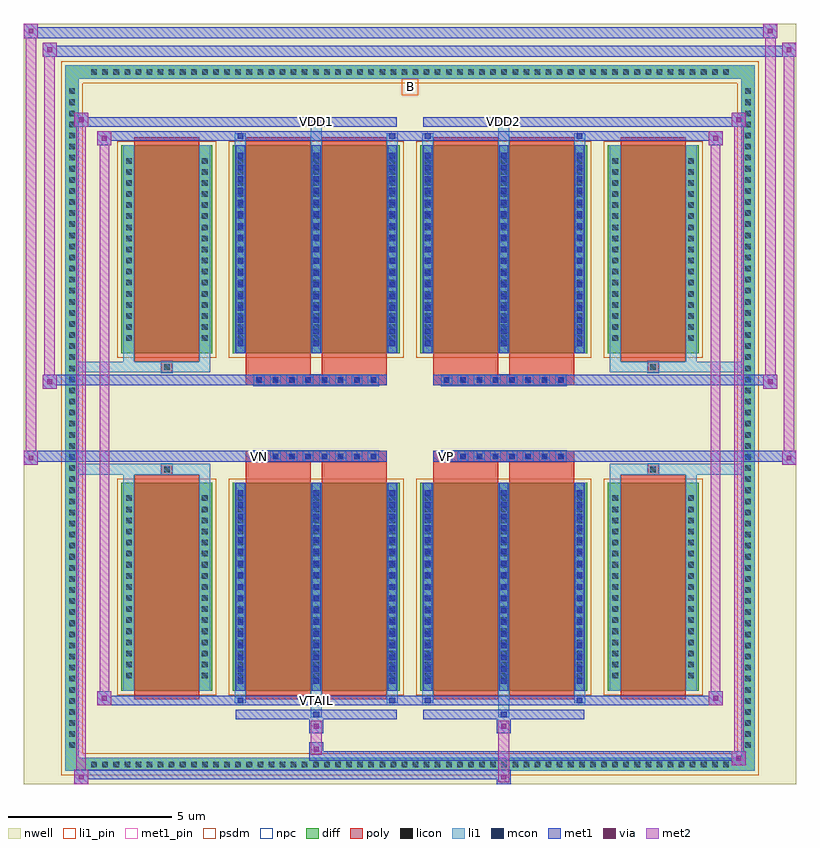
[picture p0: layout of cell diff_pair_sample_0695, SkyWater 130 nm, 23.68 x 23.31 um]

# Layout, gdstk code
import gdstk
lib = gdstk.Library(unit=1e-6, precision=5e-09)
def R(c, l, rs):  # rectangles x0, y0, x1, y1
    for r in rs: c.add(gdstk.rectangle(r[:2], r[2:], *l))
def A(c, l, x, y, w, h, nx, ny, dx, dy):  # array of equal rectangles
    R(c, l, [(x+i*dx, y+j*dy, x+i*dx+w, y+j*dy+h) for i in range(nx) for j in range(ny)])
def P(c, l, *ps):  # polygons
    for p in ps: c.add(gdstk.Polygon(p, *l))
nwell = (64, 20)
diff = (65, 20)
poly = (66, 20)
licon = (66, 44)
li1_pin = (67, 16)
li1 = (67, 20)
mcon = (67, 44)
met1_pin = (68, 16)
met1 = (68, 20)
via = (68, 44)
met2 = (69, 20)
psdm = (94, 20)
npc = (95, 20)

diff_pair_sample_0695 = lib.new_cell('diff_pair_sample_0695')
R(diff_pair_sample_0695, nwell, [(-11.84,-11.22,11.84,12.09), (-9.16,-9.41,-0.01,-0.805), (0.01,-9.41,9.16,-0.805), (-9.16,0.805,-0.01,9.41), (0.01,0.805,9.16,9.41)])
A(diff_pair_sample_0695, diff, -9.895, -10.82, 0.41, 0.41, 58, 2, 0.34, 21.23)
A(diff_pair_sample_0695, diff, -10.57, -10.235, 0.41, 0.41, 1, 60, 0, 0.34)
A(diff_pair_sample_0695, diff, 10.16, -10.235, 0.41, 0.41, 1, 60, 0, 0.34)
R(diff_pair_sample_0695, diff, [(-9.895,-10.82,9.895,-10.41), (-10.57,-10.235,-10.16,10.235), (10.16,-10.235,10.57,10.235), (-8.85,-8.365,-6.07,-1.985), (-5.43,-8.365,-0.32,-1.985), (0.32,-8.365,5.43,-1.985), (6.07,-8.365,8.85,-1.985), (-8.85,1.985,-6.07,8.365), (-5.43,1.985,-0.32,8.365), (0.32,1.985,5.43,8.365), (6.07,1.985,8.85,8.365), (-9.895,10.41,9.895,10.82)])
P(diff_pair_sample_0695, diff, [(10.57,10.82),(-10.57,10.82),(-10.57,-10.41),(-10.16,-10.41),(-10.16,10.41),(10.16,10.41),(10.16,-10.41),(-10.16,-10.41),(-10.57,-10.41),(-10.57,-10.82),(10.57,-10.82)])
A(diff_pair_sample_0695, poly, -4.79, -1.335, 0.33, 0.33, 8, 2, 0.5, 2.34)
A(diff_pair_sample_0695, poly, 0.96, -1.335, 0.33, 0.33, 8, 2, 0.5, 2.34)
R(diff_pair_sample_0695, poly, [(-8.46,-8.615,-6.46,-1.735), (-5.04,-8.615,-3.04,-1.735), (-2.71,-8.615,-0.71,-1.735), (0.71,-8.615,2.71,-1.735), (3.04,-8.615,5.04,-1.735), (6.46,-8.615,8.46,-1.735), (-7.625,-1.735,-7.295,-1.405), (-7.625,-1.735,-7.295,-1.405), (-5.04,-1.735,-3.04,-1.335), (-2.71,-1.735,-0.71,-1.335), (0.71,-1.735,2.71,-1.335), (3.04,-1.735,5.04,-1.335), (7.295,-1.735,7.625,-1.405), (7.295,-1.735,7.625,-1.405), (-5.04,-1.335,-0.71,-1.005), (0.71,-1.335,5.04,-1.005), (-5.04,1.005,-0.71,1.335), (0.71,1.005,5.04,1.335), (-5.04,1.335,-3.04,1.735), (-2.71,1.335,-0.71,1.735), (0.71,1.335,2.71,1.735), (3.04,1.335,5.04,1.735), (-7.625,1.405,-7.295,1.735), (-7.625,1.405,-7.295,1.735), (7.295,1.405,7.625,1.735), (7.295,1.405,7.625,1.735), (-8.46,1.735,-6.46,8.615), (-5.04,1.735,-3.04,8.615), (-2.71,1.735,-0.71,8.615), (0.71,1.735,2.71,8.615), (3.04,1.735,5.04,8.615), (6.46,1.735,8.46,8.615)])
A(diff_pair_sample_0695, licon, -9.775, -10.7, 0.17, 0.17, 58, 2, 0.34, 21.23)
A(diff_pair_sample_0695, licon, -10.45, -10.115, 0.17, 0.17, 1, 60, 0, 0.34)
A(diff_pair_sample_0695, licon, 10.28, -10.115, 0.17, 0.17, 1, 60, 0, 0.34)
A(diff_pair_sample_0695, licon, -8.71, -7.98, 0.17, 0.17, 1, 17, 0, 0.34)
A(diff_pair_sample_0695, licon, -6.38, -7.98, 0.17, 0.17, 1, 17, 0, 0.34)
A(diff_pair_sample_0695, licon, -5.29, -7.98, 0.17, 0.17, 3, 17, 2.33, 0.34)
A(diff_pair_sample_0695, licon, 0.46, -7.98, 0.17, 0.17, 3, 17, 2.33, 0.34)
A(diff_pair_sample_0695, licon, 6.21, -7.98, 0.17, 0.17, 1, 17, 0, 0.34)
A(diff_pair_sample_0695, licon, 8.54, -7.98, 0.17, 0.17, 1, 17, 0, 0.34)
A(diff_pair_sample_0695, licon, -4.71, -1.255, 0.17, 0.17, 8, 2, 0.5, 2.34)
A(diff_pair_sample_0695, licon, 1.04, -1.255, 0.17, 0.17, 8, 2, 0.5, 2.34)
A(diff_pair_sample_0695, licon, -8.71, 2.37, 0.17, 0.17, 1, 17, 0, 0.34)
A(diff_pair_sample_0695, licon, -6.38, 2.37, 0.17, 0.17, 1, 17, 0, 0.34)
A(diff_pair_sample_0695, licon, -5.29, 2.37, 0.17, 0.17, 3, 17, 2.33, 0.34)
A(diff_pair_sample_0695, licon, 0.46, 2.37, 0.17, 0.17, 3, 17, 2.33, 0.34)
A(diff_pair_sample_0695, licon, 6.21, 2.37, 0.17, 0.17, 1, 17, 0, 0.34)
A(diff_pair_sample_0695, licon, 8.54, 2.37, 0.17, 0.17, 1, 17, 0, 0.34)
R(diff_pair_sample_0695, licon, [(-7.545,-1.655,-7.375,-1.485), (7.375,-1.655,7.545,-1.485), (-7.545,1.485,-7.375,1.655), (7.375,1.485,7.545,1.655)])
R(diff_pair_sample_0695, li1_pin, [(-0.25,9.91,0.25,10.41)])
A(diff_pair_sample_0695, li1, -9.855, -10.78, 0.33, 0.33, 58, 2, 0.34, 21.23)
A(diff_pair_sample_0695, li1, -10.53, -10.195, 0.33, 0.33, 1, 60, 0, 0.34)
A(diff_pair_sample_0695, li1, 10.2, -10.195, 0.33, 0.33, 1, 60, 0, 0.34)
A(diff_pair_sample_0695, li1, -5.37, -8.365, 0.33, 6.38, 3, 2, 2.33, 10.35)
A(diff_pair_sample_0695, li1, 0.38, -8.365, 0.33, 6.38, 3, 2, 2.33, 10.35)
A(diff_pair_sample_0695, li1, -5.29, -8.14, 0.17, 0.17, 3, 17, 2.33, 0.36)
A(diff_pair_sample_0695, li1, -5.29, -8.14, 0.17, 5.93, 3, 2, 2.33, 10.35)
A(diff_pair_sample_0695, li1, 0.46, -8.14, 0.17, 0.17, 3, 17, 2.33, 0.36)
A(diff_pair_sample_0695, li1, 0.46, -8.14, 0.17, 5.93, 3, 2, 2.33, 10.35)
A(diff_pair_sample_0695, li1, -8.79, -8.06, 0.33, 0.33, 1, 17, 0, 0.34)
A(diff_pair_sample_0695, li1, -6.46, -8.06, 0.33, 0.33, 1, 17, 0, 0.34)
A(diff_pair_sample_0695, li1, -5.37, -8.06, 0.33, 0.33, 3, 17, 2.33, 0.34)
A(diff_pair_sample_0695, li1, 0.38, -8.06, 0.33, 0.33, 3, 17, 2.33, 0.34)
A(diff_pair_sample_0695, li1, 6.13, -8.06, 0.33, 0.33, 1, 17, 0, 0.34)
A(diff_pair_sample_0695, li1, 8.46, -8.06, 0.33, 0.33, 1, 17, 0, 0.34)
A(diff_pair_sample_0695, li1, -4.79, -1.335, 0.33, 0.33, 8, 2, 0.5, 2.34)
A(diff_pair_sample_0695, li1, 0.96, -1.335, 0.33, 0.33, 8, 2, 0.5, 2.34)
A(diff_pair_sample_0695, li1, -5.29, 2.21, 0.17, 0.17, 3, 17, 2.33, 0.36)
A(diff_pair_sample_0695, li1, 0.46, 2.21, 0.17, 0.17, 3, 17, 2.33, 0.36)
A(diff_pair_sample_0695, li1, -8.79, 2.29, 0.33, 0.33, 1, 17, 0, 0.34)
A(diff_pair_sample_0695, li1, -6.46, 2.29, 0.33, 0.33, 1, 17, 0, 0.34)
A(diff_pair_sample_0695, li1, -5.37, 2.29, 0.33, 0.33, 3, 17, 2.33, 0.34)
A(diff_pair_sample_0695, li1, 0.38, 2.29, 0.33, 0.33, 3, 17, 2.33, 0.34)
A(diff_pair_sample_0695, li1, 6.13, 2.29, 0.33, 0.33, 1, 17, 0, 0.34)
A(diff_pair_sample_0695, li1, 8.46, 2.29, 0.33, 0.33, 1, 17, 0, 0.34)
R(diff_pair_sample_0695, li1, [(-10.57,-10.82,-10.16,-10.41), (-10.57,-10.82,-10.16,-10.41), (-10.16,-10.82,10.16,-10.41), (10.16,-10.82,10.57,-10.41), (10.16,-10.82,10.57,-10.41), (-10.57,-10.41,-10.16,10.41), (10.16,-10.41,10.57,10.41), (-3.04,-9.17,-2.71,-8.365), (-2.96,-9.17,-2.79,-9), (2.71,-9.17,3.04,-8.365), (2.79,-9.17,2.96,-9), (-5.37,-8.74,-5.04,-8.365), (-5.29,-8.74,-5.12,-8.57), (-0.71,-8.74,-0.38,-8.365), (-0.63,-8.74,-0.46,-8.57), (0.38,-8.74,0.71,-8.365), (0.46,-8.74,0.63,-8.57), (5.04,-8.74,5.37,-8.365), (5.12,-8.74,5.29,-8.57), (-8.79,-8.365,-8.46,-1.985), (-6.46,-8.365,-6.13,-1.985), (6.13,-8.365,6.46,-1.985), (8.46,-8.365,8.79,-1.985), (-8.79,-1.985,-8.46,-1.405), (-6.46,-1.985,-6.13,-1.405), (6.13,-1.985,6.46,-1.405), (8.46,-1.985,8.79,-1.405), (-10.57,-1.735,-7.625,-1.405), (-8.79,-1.735,-7.625,-1.405), (-7.625,-1.735,-7.295,-1.405), (-7.295,-1.735,-6.13,-1.405), (6.13,-1.735,7.295,-1.405), (7.295,-1.735,7.625,-1.405), (7.295,-1.735,10.57,-1.405), (7.625,-1.735,8.79,-1.405), (-10.57,1.405,-7.625,1.735), (-8.79,1.405,-7.625,1.735), (-8.79,1.405,-8.46,1.985), (-7.625,1.405,-7.295,1.735), (-7.295,1.405,-6.13,1.735), (-6.46,1.405,-6.13,1.985), (6.13,1.405,7.295,1.735), (6.13,1.405,6.46,1.985), (7.295,1.405,7.625,1.735), (7.295,1.405,10.57,1.735), (7.625,1.405,8.79,1.735), (8.46,1.405,8.79,1.985), (-8.79,1.985,-8.46,8.365), (-6.46,1.985,-6.13,8.365), (6.13,1.985,6.46,8.365), (8.46,1.985,8.79,8.365), (-5.37,8.365,-5.04,8.74), (-3.04,8.365,-2.71,9.17), (-0.71,8.365,-0.38,8.74), (0.38,8.365,0.71,8.74), (2.71,8.365,3.04,9.17), (5.04,8.365,5.37,8.74), (-5.29,8.57,-5.12,8.74), (-0.63,8.57,-0.46,8.74), (0.46,8.57,0.63,8.74), (5.12,8.57,5.29,8.74), (-2.96,9,-2.79,9.17), (2.79,9,2.96,9.17), (-10.57,10.41,-10.16,10.82), (-10.57,10.41,-10.16,10.82), (-10.16,10.41,10.16,10.82), (10.16,10.41,10.57,10.82), (10.16,10.41,10.57,10.82)])
A(diff_pair_sample_0695, mcon, -5.29, -8.14, 0.17, 0.17, 3, 17, 2.33, 0.36)
A(diff_pair_sample_0695, mcon, 0.46, -8.14, 0.17, 0.17, 3, 17, 2.33, 0.36)
A(diff_pair_sample_0695, mcon, -4.71, -1.255, 0.17, 0.17, 8, 2, 0.5, 2.34)
A(diff_pair_sample_0695, mcon, 1.04, -1.255, 0.17, 0.17, 8, 2, 0.5, 2.34)
A(diff_pair_sample_0695, mcon, -5.29, 2.21, 0.17, 0.17, 3, 17, 2.33, 0.36)
A(diff_pair_sample_0695, mcon, 0.46, 2.21, 0.17, 0.17, 3, 17, 2.33, 0.36)
R(diff_pair_sample_0695, mcon, [(-2.96,-9.17,-2.79,-9), (2.79,-9.17,2.96,-9), (-5.29,-8.74,-5.12,-8.57), (-0.63,-8.74,-0.46,-8.57), (0.46,-8.74,0.63,-8.57), (5.12,-8.74,5.29,-8.57), (-5.29,8.57,-5.12,8.74), (-0.63,8.57,-0.46,8.74), (0.46,8.57,0.63,8.74), (5.12,8.57,5.29,8.74), (-2.96,9,-2.79,9.17), (2.79,9,2.96,9.17)])
R(diff_pair_sample_0695, met1_pin, [(-3.01,-8.78,-2.74,-8.51), (-4.76,-1.295,-4.49,-1.025), (0.99,-1.295,1.26,-1.025), (-3.01,8.96,-2.74,9.23), (2.74,8.96,3.01,9.23)])
A(diff_pair_sample_0695, met1, -5.35, -8.365, 0.29, 6.38, 3, 2, 2.33, 10.35)
A(diff_pair_sample_0695, met1, 0.4, -8.365, 0.29, 6.38, 3, 2, 2.33, 10.35)
A(diff_pair_sample_0695, met1, -5.35, -8.2, 0.29, 0.29, 3, 17, 2.33, 0.36)
A(diff_pair_sample_0695, met1, 0.4, -8.2, 0.29, 0.29, 3, 17, 2.33, 0.36)
A(diff_pair_sample_0695, met1, -4.77, -1.315, 0.29, 0.29, 8, 2, 0.5, 2.34)
A(diff_pair_sample_0695, met1, 0.98, -1.315, 0.29, 0.29, 8, 2, 0.5, 2.34)
A(diff_pair_sample_0695, met1, -5.35, 2.15, 0.29, 0.29, 3, 17, 2.33, 0.36)
A(diff_pair_sample_0695, met1, 0.4, 2.15, 0.29, 0.29, 3, 17, 2.33, 0.36)
R(diff_pair_sample_0695, met1, [(-10.3,-11.22,-9.87,-10.79), (2.66,-11.22,3.09,-10.79), (-10.3,-11.08,3.09,-10.79), (9.87,-10.65,10.3,-10.22), (-3.09,-10.51,10.3,-10.22), (-3.09,-10.37,-2.66,-9.94), (-3.09,-9.66,-2.66,-9.23), (2.66,-9.66,3.09,-9.23), (-5.35,-9.23,-0.4,-8.94), (-3.02,-9.23,-2.73,-8.94), (0.4,-9.23,5.35,-8.94), (2.73,-9.23,3.02,-8.94), (-9.59,-8.8,-9.16,-8.37), (-9.59,-8.8,-5.35,-8.51), (-5.35,-8.8,-5.06,-8.51), (-5.35,-8.8,-0.4,-8.51), (-0.69,-8.8,-0.4,-8.51), (-0.4,-8.8,0.4,-8.51), (0.4,-8.8,0.69,-8.51), (0.4,-8.8,5.35,-8.51), (5.06,-8.8,5.35,-8.51), (5.35,-8.8,9.59,-8.51), (9.16,-8.8,9.59,-8.37), (-11.84,-1.435,-11.41,-1.005), (11.41,-1.435,11.84,-1.005), (-11.84,-1.335,-0.71,-1.005), (-5.04,-1.335,-0.71,-1.005), (0.71,-1.335,5.04,-1.005), (0.71,-1.335,11.84,-1.005), (-11.27,0.905,-10.84,1.335), (10.84,0.905,11.27,1.335), (-11.27,1.005,-5.04,1.335), (-5.04,1.005,-0.71,1.335), (0.71,1.005,5.04,1.335), (5.04,1.005,11.27,1.335), (-9.59,8.37,-9.16,8.8), (9.16,8.37,9.59,8.8), (-9.59,8.51,-5.35,8.8), (-5.35,8.51,-5.06,8.8), (-5.35,8.51,-0.4,8.8), (-0.69,8.51,-0.4,8.8), (-0.4,8.51,0.4,8.8), (0.4,8.51,0.69,8.8), (0.4,8.51,5.35,8.8), (5.06,8.51,5.35,8.8), (5.35,8.51,9.59,8.8), (-10.3,8.94,-5.35,9.23), (-10.3,8.94,-9.87,9.37), (-5.35,8.94,-0.4,9.23), (-3.02,8.94,-2.73,9.23), (0.4,8.94,5.35,9.23), (2.73,8.94,3.02,9.23), (5.35,8.94,10.3,9.23), (9.87,8.94,10.3,9.37), (-11.27,11.09,-10.84,11.52), (-11.27,11.09,-9.16,11.42), (-9.16,11.09,9.16,11.42), (9.16,11.09,11.84,11.42), (11.41,11.09,11.84,11.52), (-11.84,11.66,-11.41,12.09), (-11.84,11.66,-9.16,11.99), (-9.16,11.66,9.16,11.99), (9.16,11.66,11.27,11.99), (10.84,11.66,11.27,12.09)])
R(diff_pair_sample_0695, via, [(-10.16,-11.08,-10.01,-10.93), (2.8,-11.08,2.95,-10.93), (10.01,-10.51,10.16,-10.36), (-2.95,-10.23,-2.8,-10.08), (-2.95,-9.52,-2.8,-9.37), (2.8,-9.52,2.95,-9.37), (-9.45,-8.66,-9.3,-8.51), (9.3,-8.66,9.45,-8.51), (-11.7,-1.295,-11.55,-1.145), (11.55,-1.295,11.7,-1.145), (-11.13,1.045,-10.98,1.195), (10.98,1.045,11.13,1.195), (-9.45,8.51,-9.3,8.66), (9.3,8.51,9.45,8.66), (-10.16,9.08,-10.01,9.23), (10.01,9.08,10.16,9.23), (-11.13,11.23,-10.98,11.38), (11.55,11.23,11.7,11.38), (-11.7,11.8,-11.55,11.95), (10.98,11.8,11.13,11.95)])
R(diff_pair_sample_0695, met2, [(-10.3,-11.22,-9.87,-10.79), (-10.23,-11.22,-9.94,9.37), (-9.94,-11.22,-9.87,-10.79), (-10.25,-11.17,-9.92,-10.84), (2.71,-11.17,3.04,-10.84), (2.71,-10.84,3.04,-9.61), (9.87,-10.65,10.3,-10.22), (9.94,-10.65,10.23,9.37), (10.23,-10.65,10.3,-10.22), (9.92,-10.6,10.25,-10.27), (-3.04,-10.32,-2.71,-9.99), (-3.04,-9.99,-2.71,-9.61), (-3.04,-9.61,-2.71,-9.28), (2.71,-9.61,3.04,-9.28), (-9.59,-8.8,-9.16,-8.37), (-9.52,-8.8,-9.23,8.8), (-9.23,-8.8,-9.16,-8.37), (9.16,-8.8,9.59,-8.37), (9.23,-8.8,9.52,8.8), (9.52,-8.8,9.59,-8.37), (-9.54,-8.75,-9.21,-8.42), (9.21,-8.75,9.54,-8.42), (-11.84,-1.435,-11.41,-1.005), (-11.79,-1.435,-11.46,12.09), (-11.46,-1.435,-11.41,-1.005), (11.41,-1.435,11.84,-1.005), (11.46,-1.435,11.79,11.52), (11.79,-1.435,11.84,-1.005), (-11.79,-1.385,-11.46,-1.055), (11.46,-1.385,11.79,-1.055), (-11.27,0.905,-10.84,1.335), (-11.22,0.905,-10.89,11.52), (-10.89,0.905,-10.84,1.335), (10.84,0.905,11.27,1.335), (10.89,0.905,11.22,12.09), (11.22,0.905,11.27,1.335), (-11.22,0.955,-10.89,1.285), (10.89,0.955,11.22,1.285), (-9.59,8.37,-9.16,8.8), (-9.23,8.37,-9.16,8.8), (9.16,8.37,9.59,8.8), (9.52,8.37,9.59,8.8), (-9.54,8.42,-9.21,8.75), (9.21,8.42,9.54,8.75), (-10.3,8.94,-9.87,9.37), (-9.94,8.94,-9.87,9.37), (9.87,8.94,10.3,9.37), (10.23,8.94,10.3,9.37), (-10.25,8.99,-9.92,9.32), (9.92,8.99,10.25,9.32), (-11.27,11.09,-10.84,11.52), (-10.89,11.09,-10.84,11.52), (11.41,11.09,11.84,11.52), (11.79,11.09,11.84,11.52), (-11.22,11.14,-10.89,11.47), (11.46,11.14,11.79,11.47), (-11.84,11.66,-11.41,12.09), (-11.46,11.66,-11.41,12.09), (10.84,11.66,11.27,12.09), (11.22,11.66,11.27,12.09), (-11.79,11.71,-11.46,12.04), (10.89,11.71,11.22,12.04)])
R(diff_pair_sample_0695, psdm, [(-8.98,-8.495,-5.94,-1.855), (-5.56,-8.495,-0.19,-1.855), (0.19,-8.495,5.56,-1.855), (5.94,-8.495,8.98,-1.855), (-8.98,1.855,-5.94,8.495), (-5.56,1.855,-0.19,8.495), (0.19,1.855,5.56,8.495), (5.94,1.855,8.98,8.495)])
P(diff_pair_sample_0695, psdm, [(10.7,10.95),(-10.7,10.95),(-10.7,-10.28),(-10.03,-10.28),(-10.03,10.28),(10.03,10.28),(10.03,-10.28),(-10.03,-10.28),(-10.7,-10.28),(-10.7,-10.95),(10.7,-10.95)])
A(diff_pair_sample_0695, npc, -4.81, -1.355, 0.37, 0.37, 8, 2, 0.5, 2.34)
A(diff_pair_sample_0695, npc, 0.94, -1.355, 0.37, 0.37, 8, 2, 0.5, 2.34)
R(diff_pair_sample_0695, npc, [(-7.645,-1.755,-7.275,-1.385), (7.275,-1.755,7.645,-1.385), (-4.81,-1.355,-3.94,-0.985), (-4.81,-1.355,-3.94,-0.985), (-4.31,-1.355,-3.44,-0.985), (-4.31,-1.355,-3.44,-0.985), (-3.81,-1.355,-2.94,-0.985), (-3.81,-1.355,-2.94,-0.985), (-3.31,-1.355,-2.44,-0.985), (-3.31,-1.355,-2.44,-0.985), (-2.81,-1.355,-1.94,-0.985), (-2.81,-1.355,-1.94,-0.985), (-2.31,-1.355,-1.44,-0.985), (-2.31,-1.355,-1.44,-0.985), (-1.81,-1.355,-0.94,-0.985), (-1.81,-1.355,-0.94,-0.985), (0.94,-1.355,1.81,-0.985), (0.94,-1.355,1.81,-0.985), (1.44,-1.355,2.31,-0.985), (1.44,-1.355,2.31,-0.985), (1.94,-1.355,2.81,-0.985), (1.94,-1.355,2.81,-0.985), (2.44,-1.355,3.31,-0.985), (2.44,-1.355,3.31,-0.985), (2.94,-1.355,3.81,-0.985), (2.94,-1.355,3.81,-0.985), (3.44,-1.355,4.31,-0.985), (3.44,-1.355,4.31,-0.985), (3.94,-1.355,4.81,-0.985), (3.94,-1.355,4.81,-0.985), (-4.81,0.985,-3.94,1.355), (-4.81,0.985,-3.94,1.355), (-4.31,0.985,-3.44,1.355), (-4.31,0.985,-3.44,1.355), (-3.81,0.985,-2.94,1.355), (-3.81,0.985,-2.94,1.355), (-3.31,0.985,-2.44,1.355), (-3.31,0.985,-2.44,1.355), (-2.81,0.985,-1.94,1.355), (-2.81,0.985,-1.94,1.355), (-2.31,0.985,-1.44,1.355), (-2.31,0.985,-1.44,1.355), (-1.81,0.985,-0.94,1.355), (-1.81,0.985,-0.94,1.355), (0.94,0.985,1.81,1.355), (0.94,0.985,1.81,1.355), (1.44,0.985,2.31,1.355), (1.44,0.985,2.31,1.355), (1.94,0.985,2.81,1.355), (1.94,0.985,2.81,1.355), (2.44,0.985,3.31,1.355), (2.44,0.985,3.31,1.355), (2.94,0.985,3.81,1.355), (2.94,0.985,3.81,1.355), (3.44,0.985,4.31,1.355), (3.44,0.985,4.31,1.355), (3.94,0.985,4.81,1.355), (3.94,0.985,4.81,1.355), (-7.645,1.385,-7.275,1.755), (7.275,1.385,7.645,1.755)])
diff_pair_sample_0695.add(gdstk.Label('VTAIL', (-2.875,-8.645), layer=68, texttype=5))
diff_pair_sample_0695.add(gdstk.Label('VN', (-4.625,-1.16), layer=68, texttype=5))
diff_pair_sample_0695.add(gdstk.Label('VP', (1.125,-1.16), layer=68, texttype=5))
diff_pair_sample_0695.add(gdstk.Label('B', (0,10.16), layer=67, texttype=5))
diff_pair_sample_0695.add(gdstk.Label('VDD2', (2.875,9.095), layer=68, texttype=5))
diff_pair_sample_0695.add(gdstk.Label('VDD1', (-2.875,9.095), layer=68, texttype=5))

lib.write_gds('diff_pair_sample_0695.gds')
